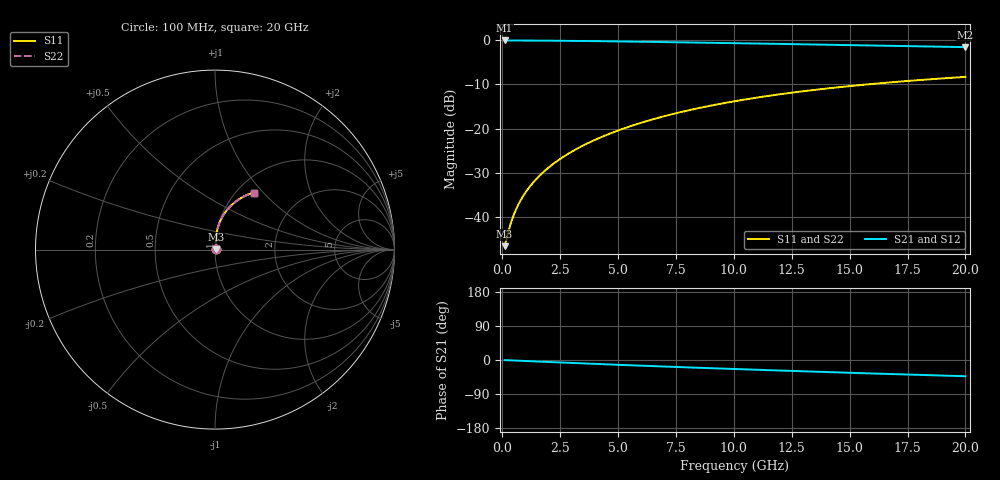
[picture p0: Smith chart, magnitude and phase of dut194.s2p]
! Touchstone file exported from HFSS 2024.1.0
!  File:  C:/UserFiles/LocalFiles/RDL_TSV_Batchsim/temp_RDL_bottom_194_1778699266.aedt
!  Generated:  03:10:31 AM May 14, 2026
!  Design:  RDL_bottom
!  Project:  temp_RDL_bottom_194_1778699266
!  Setup:  Setup1
!  Solution:  Sweep
! Variables:
!  dtsv = 10.80580581um
!  hbump = 3um
!  htsv = 56.49um
!  ldown = 591.4um
!  lrdl = 100um
!  p = 40
!  p1 = 54.47um
!  rhole = 1um
!  t = 450um
!  tdown = 2.13um
!  trdl = 3.915915916um
!  wdown = 25.48um
!  wrdl = 20um
# GHz S MA R 50.000000
! Terminal data exported
! Port[1] = RDL1_T1
! Port[2] = RDL1_T2
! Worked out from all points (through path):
!   200 points, 100 MHz to 20 GHz, reference 50 ohm
!   highest |S21| = -0.04 dB at 100 MHz (marker M1); lowest = -1.5 dB at 20 GHz (marker M2)
!   group delay of S21, straight-line fit = 5.89 ps
!   lowest |S11| = -46.6 dB at 100 MHz (marker M3), VSWR 1.01, Z = 50.4 + j0.201 ohm
!   |S11| at or under -10 dB: start of sweep to 15.74 GHz
!   |S22| runs from -46.6 to -8.3 dB; largest |S21 - S12| = 3.5e-15
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0.1  0.004663 25.4  0.9958 -0.3  0.9958 -0.3  0.004663 25.4
! Gamma 0 0 0 0
! Port Impedance 50 0 50 0
0.3  0.007376 52.5  0.9954 -0.8  0.9954 -0.8  0.007376 52.5
0.4  0.008989 58.8  0.9951 -1.1  0.9951 -1.1  0.008989 58.8
0.5  0.01063 63.0  0.9949 -1.4  0.9949 -1.4  0.01063 63.0
0.6  0.01227 66.2  0.9946 -1.6  0.9946 -1.6  0.01227 66.2
0.7  0.01391 68.6  0.9944 -1.9  0.9944 -1.9  0.01391 68.6
0.9  0.01722 72.3  0.9938 -2.4  0.9938 -2.4  0.01722 72.3
1.2  0.02225 76.1  0.993 -3.2  0.993 -3.2  0.02225 76.1
1.7  0.03089 79.8  0.9913 -4.5  0.9913 -4.5  0.03089 79.8
2.2  0.03984 82.0  0.9892 -5.8  0.9892 -5.8  0.03984 82.0
2.8  0.05098 83.5  0.9862 -7.3  0.9862 -7.3  0.05098 83.5
3.5  0.0645 84.3  0.982 -9.0  0.982 -9.0  0.0645 84.3
4.2  0.07854 84.5  0.9773 -10.7  0.9773 -10.7  0.07854 84.5
5  0.09514 84.1  0.9713 -12.7  0.9713 -12.7  0.09514 84.1
5.9  0.1143 83.2  0.9642 -14.8  0.9642 -14.8  0.1143 83.2
6.8  0.1339 81.9  0.9566 -16.8  0.9566 -16.8  0.1339 81.9
8.4  0.1689 79.1  0.9427 -20.3  0.9427 -20.3  0.1689 79.1
10.1  0.2056 75.6  0.9274 -24.0  0.9274 -24.0  0.2056 75.7
11.7  0.239 72.3  0.9128 -27.2  0.9128 -27.2  0.239 72.3
13.4  0.2728 68.7  0.8971 -30.6  0.8971 -30.6  0.2728 68.7
16.7  0.3329 61.9  0.8667 -36.9  0.8667 -36.9  0.3329 62.0
20  0.3851 55.6  0.8367 -42.8  0.8367 -42.8  0.3852 55.7
